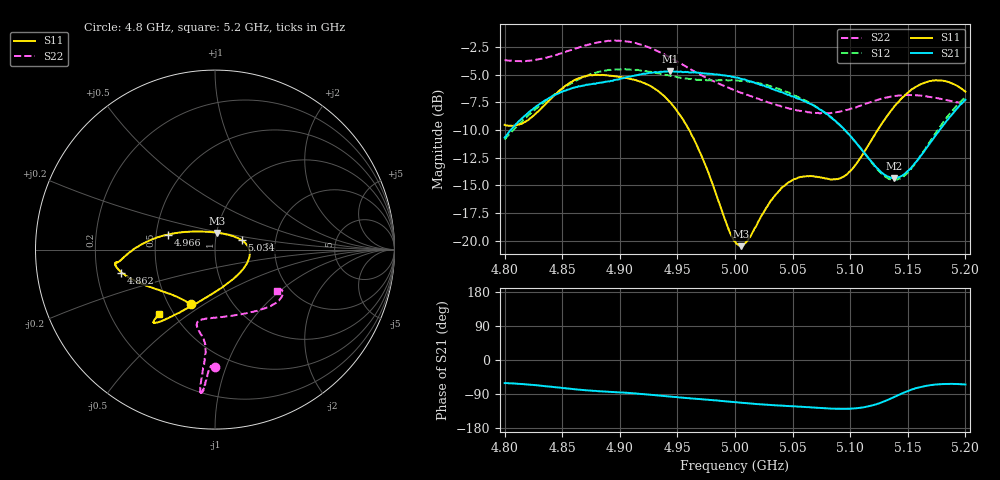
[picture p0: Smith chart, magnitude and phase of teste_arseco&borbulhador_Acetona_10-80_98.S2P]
! Network Analyzer HP8722D
! Hewlett-Packard
! Data name: Linha & Wilkinson
! Saver's name: Rodrigo Anjos
! Comments: Teste da utilização de aquisição
! continua pelo VNA HP8722D
! Time and date: 17/4/2025 15:10
!  Frequency  S11  S21  S12  S22
# HZ  S  MA R 50
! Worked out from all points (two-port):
!   401 points, 4.8 GHz to 5.2 GHz, reference 50 ohm
!   highest |S21| = -4.67 dB at 4.944 GHz (marker M1); lowest = -14.4 dB at 5.138 GHz (marker M2)
!   |S21| within 3 dB of the highest: 4.83 GHz to 5.067 GHz (236.6 MHz wide, 4.78 % of centre); 5.196029 GHz to end of sweep
!   lowest |S11| = -20.5 dB at 5.005 GHz (marker M3), VSWR 1.21, Z = 50.5 + j9.51 ohm
!   |S11| at or under -10 dB: 4.96 GHz to 5.124 GHz (163.6 MHz wide, 3.24 % of centre)
!   |S22| runs from -8.5 to -1.9 dB; largest |S21 - S12| = 0.87
!   S11 on the Smith chart (normalised r, x): 4.8 GHz: 0.64, -0.44; 4.862 GHz: 0.31, -0.11; 4.966 GHz: 0.58, +0.10; 5.034 GHz: 1.34, +0.14; 5.2 GHz: 0.42, -0.39
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4.8e9  0.3344 -113.8  0.2927 -61.0  0.2866 -175.2  0.6552 -90.2
4.819e9  0.3483 -133.8  0.3729 -64.4  0.3615 -173.9  0.6503 -91.9
4.862e9  0.5367 -166.2  0.4955 -77.6  0.5296 -177.3  0.7414 -94.0
4.867e9  0.5487 -168.1  0.5017 -79.1  0.5448 -178.2  0.7566 -94.2
4.9e9  0.5506 -172.6  0.5392 -85.5  0.5954 175.2  0.8021 -95.7
4.934e9  0.4718 -178.5  0.5788 -93.8  0.5711 171.6  0.7152 -96.0
4.944e9  0.4214 176.9  0.5841 -96.7  0.5562 171.7  0.673 -95.7
4.966e9  0.2764 162.3  0.5774 -102.3  0.5356 173.5  0.578 -95.2
5e9  0.09911 99.7  0.5485 -111.4  0.532 175.8  0.4784 -99.3
5.005e9  0.09438 81.8  0.5395 -112.6  0.5284 175.9  0.4668 -100.6
5.012e9  0.1025 58.8  0.5279 -114.5  0.5236 175.6  0.4539 -101.9
5.034e9  0.1582 19.2  0.4823 -119.4  0.4942 174.5  0.4133 -103.6
5.05e9  0.188 3.1  0.4498 -122.3  0.4587 173.9  0.3933 -99.4
5.067e9  0.1957 -15.2  0.4129 -125.4  0.4137 173.4  0.38 -90.4
5.085e9  0.1894 -43.3  0.3547 -128.3  0.3552 173.6  0.3799 -76.8
5.097e9  0.199 -67.8  0.3095 -128.8  0.3101 174.6  0.39 -67.0
5.134e9  0.3779 -117.1  0.194 -103.5  0.1898 -156.4  0.4473 -43.0
5.138e9  0.4034 -119.4  0.1914 -97.8  0.1883 -150.0  0.4505 -41.2
5.15e9  0.4671 -124.7  0.2065 -81.9  0.203 -131.7  0.4557 -36.8
5.17e9  0.5276 -129.4  0.2788 -66.3  0.2845 -112.4  0.4465 -32.1
5.184e9  0.5242 -130.6  0.3503 -63.2  0.3621 -107.4  0.4323 -31.2
5.2e9  0.4723 -130.9  0.4338 -64.6  0.4469 -106.8  0.4152 -33.6
